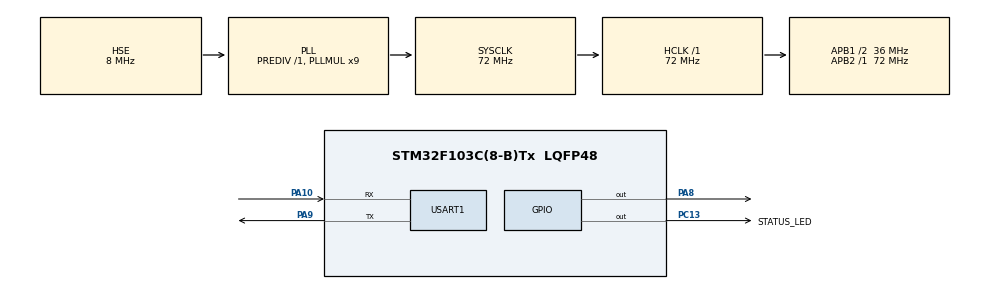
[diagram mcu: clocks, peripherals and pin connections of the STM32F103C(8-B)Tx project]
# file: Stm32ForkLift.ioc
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FREERTOS.Tasks01=defaultTask,24,128,StartDefaultTask,Default,NULL,Dynamic,NULL,NULL
Mcu.Family=STM32F1
Mcu.Name=STM32F103C(8-B)Tx
Mcu.Package=LQFP48
NVIC.PriorityGroup=NVIC_PRIORITYGROUP_4
NVIC.TIM2_IRQn=true\:0\:0\:false\:false\:true\:false\:false\:true
NVIC.TIM3_IRQn=true\:5\:0\:false\:false\:true\:true\:true\:true
NVIC.TIM4_IRQn=true\:5\:0\:false\:false\:true\:true\:true\:true
NVIC.TimeBase=TIM2_IRQn
NVIC.TimeBaseIP=TIM2
NVIC.USART1_IRQn=true\:5\:0\:false\:false\:true\:true\:true\:true
PA10.Mode=Asynchronous
PA10.Signal=USART1_RX
PA13.Mode=Serial_Wire
PA13.Signal=SYS_JTMS-SWDIO
PA14.Mode=Serial_Wire
PA14.Signal=SYS_JTCK-SWCLK
PA8.Signal=GPIO_Output
PA9.Mode=Asynchronous
PA9.Signal=USART1_TX
PC13-TAMPER-RTC.GPIO_Label=STATUS_LED
PC13-TAMPER-RTC.Signal=GPIO_Output
PD0-OSC_IN.Mode=HSE-External-Oscillator
PD0-OSC_IN.Signal=RCC_OSC_IN
PD1-OSC_OUT.Mode=HSE-External-Oscillator
PD1-OSC_OUT.Signal=RCC_OSC_OUT
ProjectManager.HeapSize=0x200
ProjectManager.StackSize=0x400
ProjectManager.TargetToolchain=STM32CubeIDE
RCC.AHBFreq_Value=72000000
RCC.APB1CLKDivider=RCC_HCLK_DIV2
RCC.APB1Freq_Value=36000000
RCC.APB1TimFreq_Value=72000000
RCC.APB2Freq_Value=72000000
RCC.APB2TimFreq_Value=72000000
RCC.HCLKFreq_Value=72000000
RCC.PLLMUL=RCC_PLL_MUL9
RCC.PLLSourceVirtual=RCC_PLLSOURCE_HSE
RCC.SYSCLKFreq_VALUE=72000000
RCC.SYSCLKSource=RCC_SYSCLKSOURCE_PLLCLK
RCC.USBFreq_Value=48000000
RCC.USBPrescaler=RCC_USBCLKSOURCE_PLL_DIV1_5
USART1.VirtualMode=VM_ASYNC
VP_CRC_VS_CRC.Mode=CRC_Activate
VP_FREERTOS_VS_CMSIS_V2.Mode=CMSIS_V2
VP_SYS_VS_tim2.Mode=TIM2
VP_TIM3_VS_ClockSourceINT.Mode=Internal
VP_TIM4_VS_ClockSourceINT.Mode=Internal
board=custom

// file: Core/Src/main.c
/* USER CODE BEGIN Header */
/**
  ******************************************************************************
  * @file           : main.c
  * @brief          : Main program body
  ******************************************************************************
  * @attention
  *
  * <h2><center>&copy; Copyright (c) 2021 STMicroelectronics.
  * All rights reserved.</center></h2>
  *
  * This software component is licensed by ST under Ultimate Liberty license
  * SLA0044, the "License"; You may not use this file except in compliance with
  * the License. You may obtain a copy of the License at:
  *                             www.st.com/SLA0044
  *
  ******************************************************************************
  */
/* USER CODE END Header */
#include "main.h"
#include "cmsis_os.h"

/* USER CODE BEGIN Includes */
#include <stdio.h>
#include <stdbool.h>
#include <math.h>

/* USER CODE END Includes */

/* USER CODE BEGIN PD */
#define UART1_LEN 		((uint8_t)(0x0100 - uart1_rear + uart1_front))
#define UART1_PUSH(x) 	(uart1_buff[uart1_front++] = x)
#define UART1_POP 		(uart1_buff[uart1_rear++])
#define UART1_FRONT 	(uart1_buff[uart1_front-1])
#define UART1_BACK 		(uart1_buff[uart1_rear])
#define UART1_CLEAR		(uart1_front = uart1_rear = 0)

#define STATION_MAX	4

/* USER CODE END PD */

CRC_HandleTypeDef hcrc;

TIM_HandleTypeDef htim3;
TIM_HandleTypeDef htim4;

UART_HandleTypeDef huart1;

/* Definitions for defaultTask */
osThreadId_t defaultTaskHandle;
const osThreadAttr_t defaultTask_attributes = {
  .name = "defaultTask",
  .priority = (osPriority_t) osPriorityNormal,
  .stack_size = 128 * 4
};
/* USER CODE BEGIN PV */

// Variable for serial communication
uint8_t uart1_Buff_Tmp[1];
uint8_t uart1_buff[256];
uint8_t uart1_front = 0;
uint8_t uart1_rear = 0;
//uint8_t command1[256+1];
//uint8_t cmd1_recv_f = 0;

extern int16_t holding_reg[10];

uint8_t modbus_count;

//uint8_t MLS_MODBUS[] = { 0x01, 0x04, 0x03, 0xe8, 0x00, 0x0A, 0xF0, 0x7D };
uint8_t MLS_MODBUS[] = { 0x01, 0x03, 0x00, 0x64, 0x00, 0x0A, 0x84, 0x12 };

uint16_t modbus_hreg[10];
uint16_t modbus_hreg_wr[10];
bool mb_read_hreg_req_f;
bool mb_write_hreg_req_f;

uint8_t navi_map[STATION_MAX][STATION_MAX] = {
		{0, 0, 0, 0},
		{0, 0, 1, 0},
		{0, 0, 0, 0},
		{1, 0, 0, 0},
};

int16_t sensor;
int16_t vehicle_speed;
int16_t steer;
int16_t steer_actual;
int16_t drive_rpm;
int16_t brake;
uint16_t rfid_tag;
uint16_t stop_sensor;
uint16_t destination;
uint16_t position;
uint16_t sensor_mode;

uint8_t drive_state;
uint8_t stop_wait;

osThreadId_t modbusTaskHandle;
const osThreadAttr_t modbusTask_attributes = {
  .name = "modbusTask",
  .priority = (osPriority_t) osPriorityNormal,
  .stack_size = 128 * 4
};

/* USER CODE END PV */

void SystemClock_Config(void);
static void MX_GPIO_Init(void);
static void MX_TIM3_Init(void);
static void MX_TIM4_Init(void);
static void MX_USART1_UART_Init(void);
static void MX_CRC_Init(void);
void StartDefaultTask(void *argument);

/* USER CODE BEGIN 0 */
//int __io_putchar(int ch) {
//	uint8_t c[1];
//	c[0] = ch & 0x00FF;
//	HAL_UART_Transmit(&huart1, &*c, 1, 0xFFFF);
//	return ch;
//}
int _write(int file, char *ptr, int len) {
	CDC_Transmit_FS(ptr, len);
	return (len);
}
extern void ModbusRTUTask(void *argument);

/* USER CODE END 0 */

int main(void)
{

  /* MCU Configuration--------------------------------------------------------*/

  /* Reset of all peripherals, Initializes the Flash interface and the Systick. */
  HAL_Init();

  /* Configure the system clock */
  SystemClock_Config();

  /* Initialize all configured peripherals */
  MX_GPIO_Init();
  MX_TIM3_Init();
  MX_TIM4_Init();
  MX_USART1_UART_Init();
  MX_CRC_Init();
  /* USER CODE BEGIN 2 */

	HAL_UART_Receive_IT(&huart1, uart1_Buff_Tmp, 1);

  /* USER CODE END 2 */

  /* Init scheduler */
  osKernelInitialize();

  /* Create the thread(s) */
  /* creation of defaultTask */
  defaultTaskHandle = osThreadNew(StartDefaultTask, NULL, &defaultTask_attributes);

  /* USER CODE BEGIN RTOS_THREADS */
  /* add threads, ... */
//  modbusTaskHandle = osThreadNew(ModbusRTUTask, NULL, &modbusTask_attributes);
  /* USER CODE END RTOS_THREADS */

  /* Start scheduler */
  osKernelStart();

  /* We should never get here as control is now taken by the scheduler */
  /* Infinite loop */
  while (1)
  {

  }
}

void SystemClock_Config(void)
{
  RCC_OscInitTypeDef RCC_OscInitStruct = {0};
  RCC_ClkInitTypeDef RCC_ClkInitStruct = {0};

  /** Initializes the RCC Oscillators according to the specified parameters
  * in the RCC_OscInitTypeDef structure.
  */
  RCC_OscInitStruct.OscillatorType = RCC_OSCILLATORTYPE_HSE;
  RCC_OscInitStruct.HSEState = RCC_HSE_ON;
  RCC_OscInitStruct.HSEPredivValue = RCC_HSE_PREDIV_DIV1;
  RCC_OscInitStruct.HSIState = RCC_HSI_ON;
  RCC_OscInitStruct.PLL.PLLState = RCC_PLL_ON;
  RCC_OscInitStruct.PLL.PLLSource = RCC_PLLSOURCE_HSE;
  RCC_OscInitStruct.PLL.PLLMUL = RCC_PLL_MUL9;
  if (HAL_RCC_OscConfig(&RCC_OscInitStruct) != HAL_OK)
  {
    Error_Handler();
  }
  /** Initializes the CPU, AHB and APB buses clocks
  */
  RCC_ClkInitStruct.ClockType = RCC_CLOCKTYPE_HCLK|RCC_CLOCKTYPE_SYSCLK
                              |RCC_CLOCKTYPE_PCLK1|RCC_CLOCKTYPE_PCLK2;
  RCC_ClkInitStruct.SYSCLKSource = RCC_SYSCLKSOURCE_PLLCLK;
  RCC_ClkInitStruct.AHBCLKDivider = RCC_SYSCLK_DIV1;
  RCC_ClkInitStruct.APB1CLKDivider = RCC_HCLK_DIV2;
  RCC_ClkInitStruct.APB2CLKDivider = RCC_HCLK_DIV1;

  if (HAL_RCC_ClockConfig(&RCC_ClkInitStruct, FLASH_LATENCY_2) != HAL_OK)
  {
    Error_Handler();
  }
}

static void MX_CRC_Init(void)
{

  hcrc.Instance = CRC;
  if (HAL_CRC_Init(&hcrc) != HAL_OK)
  {
    Error_Handler();
  }

}

static void MX_TIM3_Init(void)
{

  TIM_ClockConfigTypeDef sClockSourceConfig = {0};
  TIM_MasterConfigTypeDef sMasterConfig = {0};

  htim3.Instance = TIM3;
  htim3.Init.Prescaler = 0;
  htim3.Init.CounterMode = TIM_COUNTERMODE_UP;
  htim3.Init.Period = 65535;
  htim3.Init.ClockDivision = TIM_CLOCKDIVISION_DIV1;
  htim3.Init.AutoReloadPreload = TIM_AUTORELOAD_PRELOAD_DISABLE;
  if (HAL_TIM_Base_Init(&htim3) != HAL_OK)
  {
    Error_Handler();
  }
  sClockSourceConfig.ClockSource = TIM_CLOCKSOURCE_INTERNAL;
  if (HAL_TIM_ConfigClockSource(&htim3, &sClockSourceConfig) != HAL_OK)
  {
    Error_Handler();
  }
  sMasterConfig.MasterOutputTrigger = TIM_TRGO_RESET;
  sMasterConfig.MasterSlaveMode = TIM_MASTERSLAVEMODE_DISABLE;
  if (HAL_TIMEx_MasterConfigSynchronization(&htim3, &sMasterConfig) != HAL_OK)
  {
    Error_Handler();
  }

}

static void MX_TIM4_Init(void)
{

  TIM_ClockConfigTypeDef sClockSourceConfig = {0};
  TIM_MasterConfigTypeDef sMasterConfig = {0};

  htim4.Instance = TIM4;
  htim4.Init.Prescaler = 0;
  htim4.Init.CounterMode = TIM_COUNTERMODE_UP;
  htim4.Init.Period = 65535;
  htim4.Init.ClockDivision = TIM_CLOCKDIVISION_DIV1;
  htim4.Init.AutoReloadPreload = TIM_AUTORELOAD_PRELOAD_DISABLE;
  if (HAL_TIM_Base_Init(&htim4) != HAL_OK)
  {
    Error_Handler();
  }
  sClockSourceConfig.ClockSource = TIM_CLOCKSOURCE_INTERNAL;
  if (HAL_TIM_ConfigClockSource(&htim4, &sClockSourceConfig) != HAL_OK)
  {
    Error_Handler();
  }
  sMasterConfig.MasterOutputTrigger = TIM_TRGO_RESET;
  sMasterConfig.MasterSlaveMode = TIM_MASTERSLAVEMODE_DISABLE;
  if (HAL_TIMEx_MasterConfigSynchronization(&htim4, &sMasterConfig) != HAL_OK)
  {
    Error_Handler();
  }

}

static void MX_USART1_UART_Init(void)
{

  huart1.Instance = USART1;
  huart1.Init.BaudRate = 115200;
  huart1.Init.WordLength = UART_WORDLENGTH_8B;
  huart1.Init.StopBits = UART_STOPBITS_1;
  huart1.Init.Parity = UART_PARITY_NONE;
  huart1.Init.Mode = UART_MODE_TX_RX;
  huart1.Init.HwFlowCtl = UART_HWCONTROL_NONE;
  huart1.Init.OverSampling = UART_OVERSAMPLING_16;
  if (HAL_UART_Init(&huart1) != HAL_OK)
  {
    Error_Handler();
  }

}

static void MX_GPIO_Init(void)
{
  GPIO_InitTypeDef GPIO_InitStruct = {0};

  /* GPIO Ports Clock Enable */
  __HAL_RCC_GPIOC_CLK_ENABLE();
  __HAL_RCC_GPIOD_CLK_ENABLE();
  __HAL_RCC_GPIOA_CLK_ENABLE();

  /*Configure GPIO pin Output Level */
  HAL_GPIO_WritePin(STATUS_LED_GPIO_Port, STATUS_LED_Pin, GPIO_PIN_RESET);

  /*Configure GPIO pin Output Level */
  HAL_GPIO_WritePin(GPIOA, GPIO_PIN_8, GPIO_PIN_RESET);

  /*Configure GPIO pin : STATUS_LED_Pin */
  GPIO_InitStruct.Pin = STATUS_LED_Pin;
  GPIO_InitStruct.Mode = GPIO_MODE_OUTPUT_PP;
  GPIO_InitStruct.Pull = GPIO_NOPULL;
  GPIO_InitStruct.Speed = GPIO_SPEED_FREQ_LOW;
  HAL_GPIO_Init(STATUS_LED_GPIO_Port, &GPIO_InitStruct);

  /*Configure GPIO pin : PA8 */
  GPIO_InitStruct.Pin = GPIO_PIN_8;
  GPIO_InitStruct.Mode = GPIO_MODE_OUTPUT_PP;
  GPIO_InitStruct.Pull = GPIO_NOPULL;
  GPIO_InitStruct.Speed = GPIO_SPEED_FREQ_LOW;
  HAL_GPIO_Init(GPIOA, &GPIO_InitStruct);

}

/* USER CODE BEGIN 4 */

uint16_t CRC16 (const uint8_t *nData, uint8_t wLength)
{
	static const uint16_t wCRCTable[] = {
	0X0000, 0XC0C1, 0XC181, 0X0140, 0XC301, 0X03C0, 0X0280, 0XC241,
	0XC601, 0X06C0, 0X0780, 0XC741, 0X0500, 0XC5C1, 0XC481, 0X0440,
	0XCC01, 0X0CC0, 0X0D80, 0XCD41, 0X0F00, 0XCFC1, 0XCE81, 0X0E40,
	0X0A00, 0XCAC1, 0XCB81, 0X0B40, 0XC901, 0X09C0, 0X0880, 0XC841,
	0XD801, 0X18C0, 0X1980, 0XD941, 0X1B00, 0XDBC1, 0XDA81, 0X1A40,
	0X1E00, 0XDEC1, 0XDF81, 0X1F40, 0XDD01, 0X1DC0, 0X1C80, 0XDC41,
	0X1400, 0XD4C1, 0XD581, 0X1540, 0XD701, 0X17C0, 0X1680, 0XD641,
	0XD201, 0X12C0, 0X1380, 0XD341, 0X1100, 0XD1C1, 0XD081, 0X1040,
	0XF001, 0X30C0, 0X3180, 0XF141, 0X3300, 0XF3C1, 0XF281, 0X3240,
	0X3600, 0XF6C1, 0XF781, 0X3740, 0XF501, 0X35C0, 0X3480, 0XF441,
	0X3C00, 0XFCC1, 0XFD81, 0X3D40, 0XFF01, 0X3FC0, 0X3E80, 0XFE41,
	0XFA01, 0X3AC0, 0X3B80, 0XFB41, 0X3900, 0XF9C1, 0XF881, 0X3840,
	0X2800, 0XE8C1, 0XE981, 0X2940, 0XEB01, 0X2BC0, 0X2A80, 0XEA41,
	0XEE01, 0X2EC0, 0X2F80, 0XEF41, 0X2D00, 0XEDC1, 0XEC81, 0X2C40,
	0XE401, 0X24C0, 0X2580, 0XE541, 0X2700, 0XE7C1, 0XE681, 0X2640,
	0X2200, 0XE2C1, 0XE381, 0X2340, 0XE101, 0X21C0, 0X2080, 0XE041,
	0XA001, 0X60C0, 0X6180, 0XA141, 0X6300, 0XA3C1, 0XA281, 0X6240,
	0X6600, 0XA6C1, 0XA781, 0X6740, 0XA501, 0X65C0, 0X6480, 0XA441,
	0X6C00, 0XACC1, 0XAD81, 0X6D40, 0XAF01, 0X6FC0, 0X6E80, 0XAE41,
	0XAA01, 0X6AC0, 0X6B80, 0XAB41, 0X6900, 0XA9C1, 0XA881, 0X6840,
	0X7800, 0XB8C1, 0XB981, 0X7940, 0XBB01, 0X7BC0, 0X7A80, 0XBA41,
	0XBE01, 0X7EC0, 0X7F80, 0XBF41, 0X7D00, 0XBDC1, 0XBC81, 0X7C40,
	0XB401, 0X74C0, 0X7580, 0XB541, 0X7700, 0XB7C1, 0XB681, 0X7640,
	0X7200, 0XB2C1, 0XB381, 0X7340, 0XB101, 0X71C0, 0X7080, 0XB041,
	0X5000, 0X90C1, 0X9181, 0X5140, 0X9301, 0X53C0, 0X5280, 0X9241,
	0X9601, 0X56C0, 0X5780, 0X9741, 0X5500, 0X95C1, 0X9481, 0X5440,
	0X9C01, 0X5CC0, 0X5D80, 0X9D41, 0X5F00, 0X9FC1, 0X9E81, 0X5E40,
	0X5A00, 0X9AC1, 0X9B81, 0X5B40, 0X9901, 0X59C0, 0X5880, 0X9841,
	0X8801, 0X48C0, 0X4980, 0X8941, 0X4B00, 0X8BC1, 0X8A81, 0X4A40,
	0X4E00, 0X8EC1, 0X8F81, 0X4F40, 0X8D01, 0X4DC0, 0X4C80, 0X8C41,
	0X4400, 0X84C1, 0X8581, 0X4540, 0X8701, 0X47C0, 0X4680, 0X8641,
	0X8201, 0X42C0, 0X4380, 0X8341, 0X4100, 0X81C1, 0X8081, 0X4040 };

	uint8_t nTemp;
	uint16_t wCRCWord = 0xFFFF;
	while (wLength--)
	{
		nTemp = *nData++ ^ wCRCWord;
		wCRCWord >>= 8;
		wCRCWord ^= wCRCTable[nTemp];
	}
	return wCRCWord;
}

bool mb_res_chk_len_crc(uint8_t *data, uint8_t size)
{
	uint8_t len = data[2];
	if (size > 2 && (len+5) <= size) {
		uint16_t cks = CRC16(data, size-2);
		if (data[len+3] == (uint8_t)cks && data[len+4] == (cks>>8)) {
			return true;
		}
	}
	return false;
}

uint8_t modbus_buf[256];
uint8_t mb_16_req(uint16_t start_addr, uint16_t write_len, uint16_t *write_hreg)
{
	modbus_buf[0] = 0x01;
	modbus_buf[1] = 0x10;
	modbus_buf[2] = start_addr >> 8;
	modbus_buf[3] = start_addr;
	modbus_buf[4] = write_len >> 8;
	modbus_buf[5] = write_len;
	modbus_buf[6] = write_len*2;
	for(uint8_t i=0; i<modbus_buf[6]; i++) {
		modbus_buf[7+i*2] = write_hreg[i] >> 8;
		modbus_buf[8+i*2] = write_hreg[i];
	}
	uint16_t crc = CRC16(modbus_buf, modbus_buf[6]+7);
	modbus_buf[write_len*2+7] = crc;
	modbus_buf[write_len*2+8] = crc>>8;
	return (write_len*2+9);
}

void processModbusPacket() {
	if (mb_res_chk_len_crc(uart1_buff, UART1_LEN)) {
		modbus_count++;

		// Process
		if (uart1_buff[0] == 0x01) {
			switch(uart1_buff[1]) {
			case 3:
			{
				uint8_t size = uart1_buff[2]/2;
				for(uint8_t i=0; i<size; i++)
				{
					uint16_t value = uart1_buff[i*2+3];
					value = (value << 8) + uart1_buff[i*2+4];
					modbus_hreg[i] = value;
				}
				mb_read_hreg_req_f = false;
				break;
			}
			case 16:
			{
				mb_write_hreg_req_f = false;
				break;
			}
			}
		}

		if (mb_read_hreg_req_f) {

		}
		else if (mb_write_hreg_req_f) {
			memset(uart1_buff, 255, 0);
			UART1_CLEAR;

			uint8_t len = mb_16_req(110, 5, modbus_hreg_wr);
			HAL_UART_Transmit_IT(&huart1, modbus_buf, len);
//		    CDC_Transmit_FS(modbus_buf, len);

			mb_write_hreg_req_f = false;
		}
	}
}

// Called when received Serial data
void HAL_UART_RxCpltCallback(UART_HandleTypeDef *huart)
{
	if (huart->Instance == USART1) {
		UART1_PUSH(uart1_Buff_Tmp[0]);
		HAL_UART_Receive_IT(&huart1, uart1_Buff_Tmp, 1);
	}
}
void HAL_UART_TxCpltCallback(UART_HandleTypeDef *huart)
{
	if (huart->Instance == USART1) {
		UART1_CLEAR;
	}
}

int8_t CDC_Receive_Callback(uint8_t* Buf, uint32_t *Len)
{
	for (uint32_t i=0; i<*Len; i++) {
		UART1_PUSH(Buf[i]);
	}
	return 0;
}

//static int8_t CDC_Receive_FS(uint8_t* pbuf, uint32_t *Len) {
//	uint8_t result = USBD_OK;
//
////	if (hUsbDeviceFS.dev_state != USBD_STATE_CONFIGURED) {
////		return USBD_FAIL;
////	}
////
////	USBD_CDC_ReceivePacket(&hUsbDeviceFS);
//
//	for (uint32_t i=0; i<Len; i++) {
//		UART1_PUSH(pbuf[i]);
//	}
//
//
//
//	return result;
//
//}

uint16_t sensor_pos = 0;
uint16_t sensor_count = 0;
/* USER CODE END 4 */

void StartDefaultTask(void *argument)
{
  /* USER CODE BEGIN 5 */
	uint8_t i;
//  CDC_Transmit_FS("Start\n", 6);

  /* Infinite loop */
  for(;;)
  {
    osDelay(20);

    HAL_GPIO_TogglePin(STATUS_LED_GPIO_Port, STATUS_LED_Pin);

    processModbusPacket();

    vehicle_speed = (int16_t)modbus_hreg[1];
    steer_actual = (int16_t)modbus_hreg[2];
    sensor = (int16_t)modbus_hreg[3];
    stop_sensor = modbus_hreg[4];
    rfid_tag = modbus_hreg[5];
    destination = modbus_hreg[6];
    sensor_mode = modbus_hreg[7];

    steer = 0;

    // -- Current Position
    if (rfid_tag > 0) {
    	position = rfid_tag;
    }

    // -- Calculate sensor
	steer = sensor * 3;

    brake = 0;

    if (destination > 0) {
    	if (destination != position) {
    		drive_state = 10;
    	}
    }
    else {
    	drive_state = 0;
    }

    switch (drive_state) {
    case 0:
    	drive_rpm = 0;
    	break;

    case 10:
        // -- Drive Normal
        if (vehicle_speed < 500) {
        	drive_rpm = 70;
        }
        else {
        	drive_rpm = 0;
        }

        if (position == destination) {
        	drive_state = 11;
        }
        break;

    case 11:
    	// -- Slow down
        if (vehicle_speed < 300) {
        	drive_rpm = 30;
        }
        else {
        	drive_rpm = 0;
        }

        if (stop_sensor) {
        	drive_state = 12;
        }
    	break;

    case 12:
    	// -- Detect stops
    	brake = 1;
    	stop_wait = 1000;
    	drive_state = 13;
    	break;

    case 13:
    	// -- Keep stop
    	brake = 1;
    	if (stop_wait > 0) {
    		stop_wait--;
    	}
    	else {
    		drive_state = 0;
    	}
    }

    modbus_hreg_wr[0] = (uint16_t)steer;
    modbus_hreg_wr[1] = (uint16_t)drive_rpm;
    modbus_hreg_wr[2] = (uint16_t)brake;
    modbus_hreg_wr[3] = (uint16_t)navi_map[destination-1][position-1];

//    mb_read_hreg_req_f = true;
    mb_write_hreg_req_f = true;

//	memset(uart1_buff, 255, 0);
	UART1_CLEAR;
//    CDC_Transmit_FS(MLS_MODBUS, sizeof(MLS_MODBUS));
	HAL_UART_Transmit_IT(&huart1, MLS_MODBUS, sizeof(MLS_MODBUS));

  }
  /* USER CODE END 5 */
}

 /**
  * @brief  Period elapsed callback in non blocking mode
  * @note   This function is called  when TIM2 interrupt took place, inside
  * HAL_TIM_IRQHandler(). It makes a direct call to HAL_IncTick() to increment
  * a global variable "uwTick" used as application time base.
  * @param  htim : TIM handle
  * @retval None
  */
void HAL_TIM_PeriodElapsedCallback(TIM_HandleTypeDef *htim)
{
  if (htim->Instance == TIM2) {
    HAL_IncTick();
  }
}

void Error_Handler(void)
{
  __disable_irq();
  while (1)
  {
  }
}

#ifdef  USE_FULL_ASSERT
/**
  * @brief  Reports the name of the source file and the source line number
  *         where the assert_param error has occurred.
  * @param  file: pointer to the source file name
  * @param  line: assert_param error line source number
  * @retval None
  */
void assert_failed(uint8_t *file, uint32_t line)
{
  /* USER CODE BEGIN 6 */
  USBD_CDC_SetRxBuffer(&hUsbDeviceFS, &Buf[0]);
  for(int16_t i = 0;i < *Len;i++)                      // ②
    PutDataToUartQueue(&CDCQueue, Buf[i]);             // ③
  USBD_CDC_ReceivePacket(&hUsbDeviceFS);
  return (USBD_OK);
  /* USER CODE END 6 */
}
#endif /* USE_FULL_ASSERT */

/************************ (C) COPYRIGHT STMicroelectronics *****END OF FILE****/
